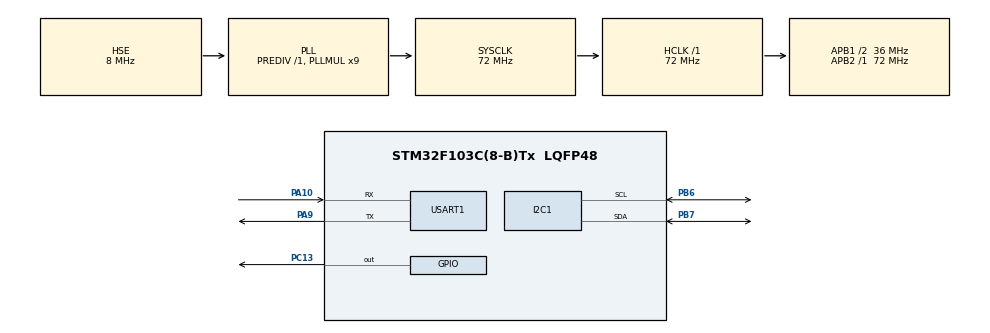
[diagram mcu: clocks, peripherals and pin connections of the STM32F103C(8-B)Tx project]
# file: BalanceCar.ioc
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I2C1.I2C_Mode=I2C_Fast
Mcu.Family=STM32F1
Mcu.Name=STM32F103C(8-B)Tx
Mcu.Package=LQFP48
NVIC.PriorityGroup=NVIC_PRIORITYGROUP_4
PA10.Mode=Asynchronous
PA10.Signal=USART1_RX
PA13.Mode=Trace_Asynchronous_SW
PA13.Signal=SYS_JTMS-SWDIO
PA14.Mode=Trace_Asynchronous_SW
PA14.Signal=SYS_JTCK-SWCLK
PA9.Mode=Asynchronous
PA9.Signal=USART1_TX
PB3.Mode=Trace_Asynchronous_SW
PB3.Signal=SYS_JTDO-TRACESWO
PB6.Mode=I2C
PB6.Signal=I2C1_SCL
PB7.Mode=I2C
PB7.Signal=I2C1_SDA
PC13-TAMPER-RTC.Signal=GPIO_Output
PD0-OSC_IN.Mode=HSE-External-Oscillator
PD0-OSC_IN.Signal=RCC_OSC_IN
PD1-OSC_OUT.Mode=HSE-External-Oscillator
PD1-OSC_OUT.Signal=RCC_OSC_OUT
ProjectManager.HeapSize=0x200
ProjectManager.StackSize=0x400
ProjectManager.TargetToolchain=EWARM V8.32
RCC.AHBFreq_Value=72000000
RCC.APB1CLKDivider=RCC_HCLK_DIV2
RCC.APB1Freq_Value=36000000
RCC.APB1TimFreq_Value=72000000
RCC.APB2Freq_Value=72000000
RCC.APB2TimFreq_Value=72000000
RCC.HCLKFreq_Value=72000000
RCC.PLLMUL=RCC_PLL_MUL9
RCC.PLLSourceVirtual=RCC_PLLSOURCE_HSE
RCC.SYSCLKFreq_VALUE=72000000
RCC.SYSCLKSource=RCC_SYSCLKSOURCE_PLLCLK
RCC.USBFreq_Value=72000000
USART1.VirtualMode=VM_ASYNC
board=custom

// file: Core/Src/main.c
/* USER CODE BEGIN Header */
/**
  ******************************************************************************
  * @file           : main.c
  * @brief          : Main program body
  ******************************************************************************
  * @attention
  *
  * Copyright (c) 2023 STMicroelectronics.
  * All rights reserved.
  *
  * This software is licensed under terms that can be found in the LICENSE file
  * in the root directory of this software component.
  * If no LICENSE file comes with this software, it is provided AS-IS.
  *
  ******************************************************************************
  */
/* USER CODE END Header */
#include "main.h"
#include "i2c.h"
#include "usart.h"
#include "gpio.h"

/* USER CODE BEGIN Includes */
#include "debugger.h"
#include "arg.h"
#include "gyro.h"
#include "pid.h"
/* USER CODE END Includes */

void SystemClock_Config(void);

int main(void)
{
  /* USER CODE BEGIN 1 */
  /*  */
  PIDController pid = { PID_KP, PID_KI, PID_KD,
                      PID_TAU,
                      PID_LIM_MIN, PID_LIM_MAX,
                      PID_LIM_MIN_INT, PID_LIM_MAX_INT,
                      SAMPLE_TIME_S,
                      LOW_PASS_FILTER};
  /* USER CODE END 1 */

  /* MCU Configuration--------------------------------------------------------*/

  /* Reset of all peripherals, Initializes the Flash interface and the Systick. */
  HAL_Init();

  /* Configure the system clock */
  SystemClock_Config();

  /* Initialize all configured peripherals */
  MX_GPIO_Init();
  MX_I2C1_Init();
  MX_USART1_UART_Init();
  /* USER CODE BEGIN 2 */
  HAL_GPIO_WritePin(GPIOC, GPIO_PIN_13, GPIO_PIN_RESET);

  while(MPU_Init()){
    printf("Init Error!\r\n");
  };
//  while(mpu_dmp_init())
//  {
//    delay_ms(200);
//    printf("%s, code: %d\r\n","Mpu6050 Init Wrong!", mpu_dmp_init());
//  }
//  printf("%s\r\n","Mpu6050 Init OK!");
  /* USER CODE END 2 */

  /* Infinite loop */
  while (1)
  {

    /* USER CODE BEGIN 3 */
    HAL_GPIO_TogglePin(GPIOC, GPIO_PIN_13);
    HAL_Delay(500);
//    printf("Hello World!");
//    if(mpu_dmp_get_data(&pitch,&roll,&yaw)==0)
    {
//      temp=MPU_Get_Temperature();
//      MPU_Get_Accelerometer(&aacx,&aacy,&aacz);
//      MPU_Get_Gyroscope(&gyrox,&gyroy,&gyroz);
      printf("\t                      \t| \tx  \t| \ty  \t| \tz  \t|\r\n");
      printf("\tAngle                 \t| \t%f \t| \t%f \t| \t%f \t|\r\n",pitch,roll,yaw);
      printf("\tAcceleration          \t| \t%d \t| \t%d \t| \t%d \t|\r\n",aacx,aacy,aacz);
      printf("\tangular acceleration  \t| \t%d \t| \t%d \t| \t%d \t|\r\n",gyrox,gyroy,gyroz);
    }
  }
  /* USER CODE END 3 */
}

void SystemClock_Config(void)
{
  RCC_OscInitTypeDef RCC_OscInitStruct = {0};
  RCC_ClkInitTypeDef RCC_ClkInitStruct = {0};

  /** Initializes the RCC Oscillators according to the specified parameters
  * in the RCC_OscInitTypeDef structure.
  */
  RCC_OscInitStruct.OscillatorType = RCC_OSCILLATORTYPE_HSE;
  RCC_OscInitStruct.HSEState = RCC_HSE_ON;
  RCC_OscInitStruct.HSEPredivValue = RCC_HSE_PREDIV_DIV1;
  RCC_OscInitStruct.HSIState = RCC_HSI_ON;
  RCC_OscInitStruct.PLL.PLLState = RCC_PLL_ON;
  RCC_OscInitStruct.PLL.PLLSource = RCC_PLLSOURCE_HSE;
  RCC_OscInitStruct.PLL.PLLMUL = RCC_PLL_MUL9;
  if (HAL_RCC_OscConfig(&RCC_OscInitStruct) != HAL_OK)
  {
    Error_Handler();
  }

  /** Initializes the CPU, AHB and APB buses clocks
  */
  RCC_ClkInitStruct.ClockType = RCC_CLOCKTYPE_HCLK|RCC_CLOCKTYPE_SYSCLK
                              |RCC_CLOCKTYPE_PCLK1|RCC_CLOCKTYPE_PCLK2;
  RCC_ClkInitStruct.SYSCLKSource = RCC_SYSCLKSOURCE_PLLCLK;
  RCC_ClkInitStruct.AHBCLKDivider = RCC_SYSCLK_DIV1;
  RCC_ClkInitStruct.APB1CLKDivider = RCC_HCLK_DIV2;
  RCC_ClkInitStruct.APB2CLKDivider = RCC_HCLK_DIV1;

  if (HAL_RCC_ClockConfig(&RCC_ClkInitStruct, FLASH_LATENCY_2) != HAL_OK)
  {
    Error_Handler();
  }
}

void Error_Handler(void)
{
  __disable_irq();
  while (1)
  {
  }
}
